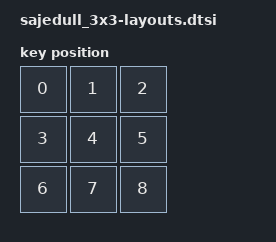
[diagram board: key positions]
#include <physical_layouts.dtsi>

/ {
    physical_layout0: physical_layout_0 {
        compatible = "zmk,physical-layout";

        display-name = "Sajedull 3x3";

        transform = <&default_transform>;

        keys
        = <&key_physical_attrs 100 100   0   0 0 0 0>
        , <&key_physical_attrs 100 100 100   0 0 0 0>
        , <&key_physical_attrs 100 100 200   0 0 0 0>

        , <&key_physical_attrs 100 100   0 100 0 0 0>
        , <&key_physical_attrs 100 100 100 100 0 0 0>
        , <&key_physical_attrs 100 100 200 100 0 0 0>

        , <&key_physical_attrs 100 100   0 200 0 0 0>
        , <&key_physical_attrs 100 100 100 200 0 0 0>
        , <&key_physical_attrs 100 100 200 200 0 0 0>
        ;
    };
};
